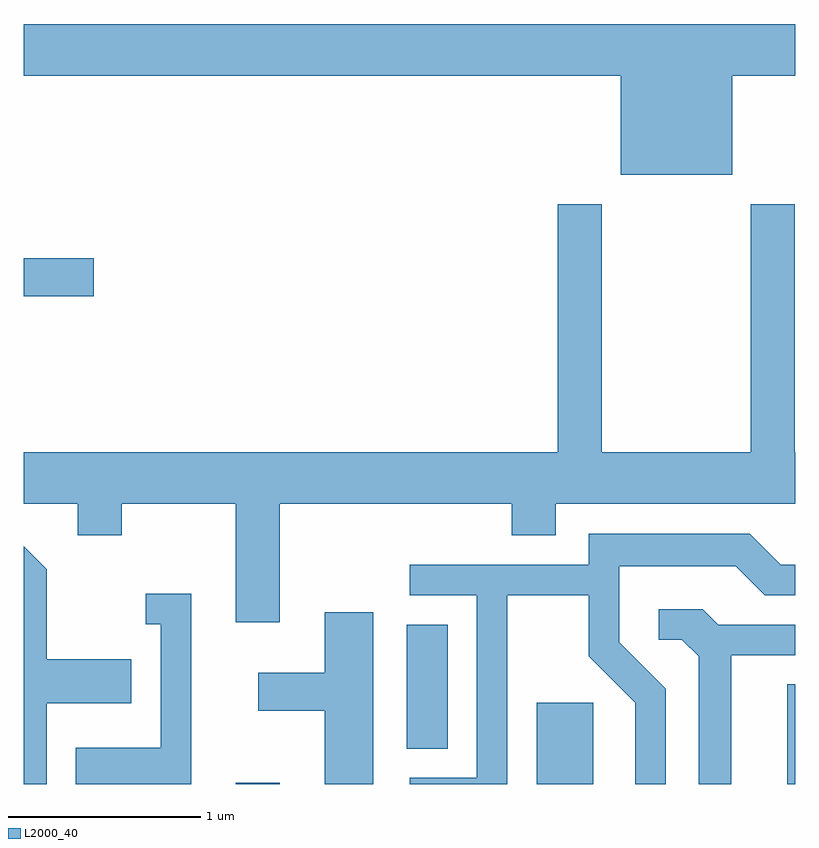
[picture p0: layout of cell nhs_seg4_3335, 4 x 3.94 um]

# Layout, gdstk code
import gdstk
lib = gdstk.Library(unit=1e-6, precision=1e-09)
def R(c, l, rs):  # rectangles x0, y0, x1, y1
    for r in rs: c.add(gdstk.rectangle(r[:2], r[2:], *l))
def P(c, l, *ps):  # polygons
    for p in ps: c.add(gdstk.Polygon(p, *l))
L2000_40 = (2000, 40)

nhs_seg4_3335 = lib.new_cell('nhs_seg4_3335')
R(nhs_seg4_3335, L2000_40, [(284.711,1259.982,284.939,1259.989), (286.271,1259.982,286.564,1260.404), (287.571,1259.982,287.611,1260.499), (285.596,1260.166,285.809,1260.809), (283.611,1262.511,283.974,1262.709)])
P(nhs_seg4_3335, L2000_40, [(287.284,1263.656),(287.611,1263.656),(287.611,1263.924),(283.611,1263.924),(283.611,1263.656),(286.706,1263.656),(286.706,1263.141),(287.284,1263.141)],
  [(283.611,1261.436),(283.891,1261.436),(283.891,1261.271),(284.119,1261.271),(284.119,1261.436),(284.711,1261.436),(284.711,1260.821),(284.939,1260.821),(284.939,1261.436),(286.141,1261.436),(286.141,1261.271),(286.369,1261.271),(286.369,1261.436),(287.611,1261.436),(287.611,1261.704),(287.609,1261.704),(287.609,1262.989),(287.381,1262.989),(287.381,1261.704),(286.609,1261.704),(286.609,1262.989),(286.381,1262.989),(286.381,1261.704),(283.611,1261.704)],
  [(286.119,1260.961),(286.541,1260.961),(286.541,1260.644),(286.781,1260.404),(286.781,1259.982),(286.939,1259.982),(286.939,1260.477),(286.699,1260.717),(286.699,1261.111),(287.304,1261.111),(287.454,1260.961),(287.611,1260.961),(287.611,1261.119),(287.537,1261.119),(287.377,1261.279),(286.541,1261.279),(286.541,1261.119),(285.613,1261.119),(285.613,1260.961),(285.961,1260.961),(285.961,1260.014),(285.613,1260.014),(285.613,1259.982),(286.119,1259.982)],
  [(283.729,1260.401),(284.169,1260.401),(284.169,1260.629),(283.729,1260.629),(283.729,1261.097),(283.611,1261.215),(283.611,1259.982),(283.729,1259.982)],
  [(284.479,1260.969),(284.243,1260.969),(284.243,1260.811),(284.321,1260.811),(284.321,1260.169),(283.881,1260.169),(283.881,1259.982),(284.479,1259.982)],
  [(287.279,1260.651),(287.611,1260.651),(287.611,1260.809),(287.212,1260.809),(287.132,1260.889),(286.903,1260.889),(286.903,1260.731),(287.024,1260.731),(287.111,1260.644),(287.111,1259.982),(287.279,1259.982)],
  [(285.424,1260.874),(285.171,1260.874),(285.171,1260.559),(284.826,1260.559),(284.826,1260.361),(285.171,1260.361),(285.171,1259.982),(285.424,1259.982)])

lib.write_gds('nhs_seg4_3335.gds')
